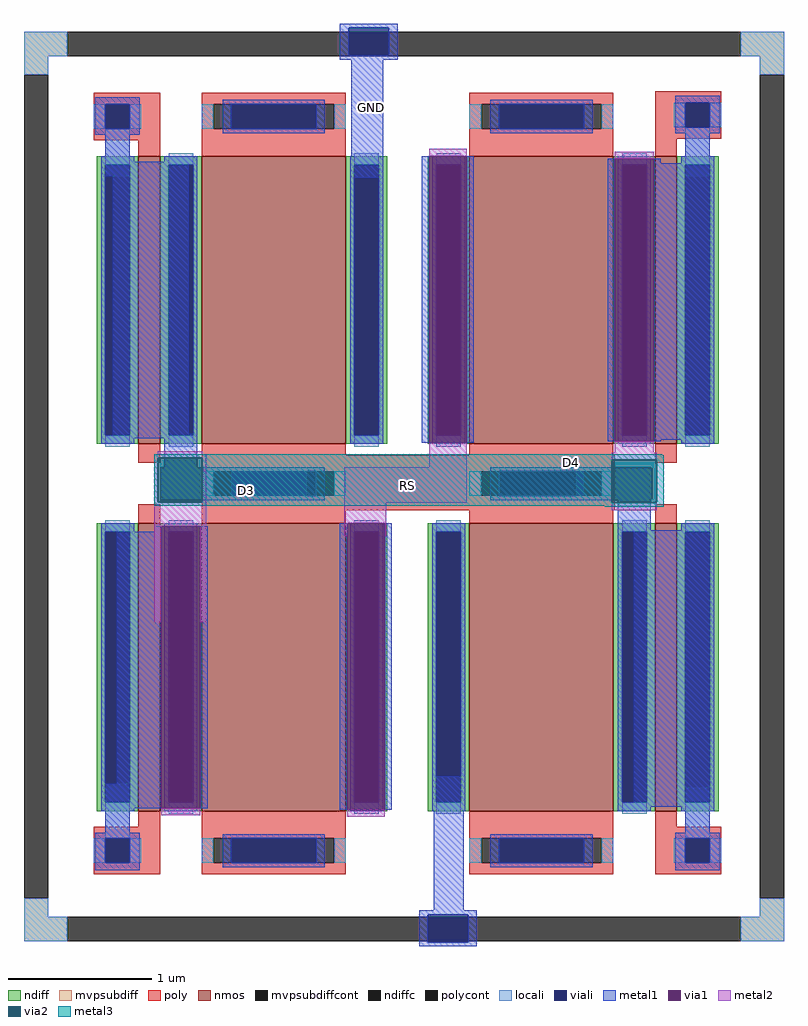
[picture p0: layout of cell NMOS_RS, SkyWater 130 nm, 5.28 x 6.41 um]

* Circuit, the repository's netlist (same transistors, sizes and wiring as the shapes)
** sch_path: /root/latihan/opamp/mag_file/NMOS_RS/NMOS_RS.sch
.subckt NMOS_RS D4 D3 RS GND
*.PININFO RS:B D4:B D3:B GND:B
XM4 D4 D3 RS GND sky130_fd_pr__nfet_01v8 L=1 W=2 nf=1 m=2
XM3 D3 D3 GND GND sky130_fd_pr__nfet_01v8 L=1 W=2 nf=1 m=2
XM1 D3 D3 D3 GND sky130_fd_pr__nfet_01v8 L=0.15 W=2 nf=1 m=2
XM2 D4 D4 D4 GND sky130_fd_pr__nfet_01v8 L=0.15 W=2 nf=1 m=2
.ends
.end

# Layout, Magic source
magic
tech sky130A
magscale 1 2
<< mvpsubdiff >>
rect -189 1137 -129 1171
rect 807 1137 867 1171
rect -189 1111 -155 1137
rect 833 1111 867 1137
rect -189 -59 -155 -33
rect 833 -59 867 -33
rect -189 -93 -129 -59
rect 807 -93 867 -59
<< mvpsubdiffcont >>
rect -129 1137 807 1171
rect -189 -33 -155 1111
rect 833 -33 867 1111
rect -129 -93 807 -59
<< poly >>
rect -92 1070 0 1086
rect -92 1036 -76 1070
rect -42 1036 0 1070
rect -92 1020 0 1036
rect -30 1006 0 1020
rect 688 1072 780 1088
rect 688 1038 730 1072
rect 764 1038 780 1072
rect 688 1022 780 1038
rect 688 1018 716 1022
rect 58 506 632 582
rect -30 66 0 80
rect -92 50 0 66
rect -92 16 -76 50
rect -42 16 0 50
rect -92 0 0 16
rect 688 66 718 80
rect 688 50 780 66
rect 688 16 730 50
rect 764 16 780 50
rect 688 0 780 16
<< polycont >>
rect -76 1036 -42 1070
rect 730 1038 764 1072
rect -76 16 -42 50
rect 730 16 764 50
<< locali >>
rect -189 1137 -129 1171
rect 807 1137 867 1171
rect -189 1111 -155 1137
rect 833 1111 867 1137
rect -92 1036 -76 1070
rect -42 1036 -26 1070
rect 714 1038 730 1072
rect 764 1038 780 1072
rect -76 970 -42 1036
rect 730 970 764 1038
rect -76 50 -42 126
rect 730 50 764 120
rect -92 16 -76 50
rect -42 16 -26 50
rect 714 16 730 50
rect 764 16 780 50
rect -189 -59 -155 -33
rect 833 -59 867 -33
rect -189 -93 -129 -59
rect 807 -93 867 -59
<< viali >>
rect 262 1171 318 1176
rect 262 1138 318 1171
rect -76 1036 -42 1070
rect 730 1038 764 1072
rect -76 16 -42 50
rect 730 16 764 50
rect 372 -59 428 -56
rect 372 -93 428 -59
rect 372 -94 428 -93
<< metal1 >>
rect 250 1176 330 1182
rect 250 1138 262 1176
rect 318 1138 330 1176
rect 250 1132 330 1138
rect -90 1070 -28 1080
rect -90 1036 -76 1070
rect -42 1036 -28 1070
rect -90 1028 -28 1036
rect -76 990 -42 1028
rect -76 970 40 990
rect -66 612 40 970
rect 266 968 310 1132
rect 716 1072 778 1082
rect 716 1038 730 1072
rect 764 1038 778 1072
rect 716 1030 778 1038
rect -66 606 52 612
rect 6 566 52 606
rect 364 600 374 998
rect 426 600 436 998
rect 622 602 632 994
rect 686 988 696 994
rect 730 988 764 1030
rect 686 604 764 988
rect 686 602 696 604
rect 0 520 204 566
rect 580 564 682 566
rect 578 522 684 564
rect 578 520 682 522
rect -8 476 2 484
rect -60 126 2 476
rect -76 92 2 126
rect 56 92 66 484
rect -76 58 -42 92
rect 250 90 260 488
rect 312 90 322 488
rect 636 478 682 520
rect 636 476 764 478
rect -90 50 -28 58
rect -90 16 -76 50
rect -42 16 -28 50
rect -90 6 -28 16
rect 380 -50 422 136
rect 658 94 764 476
rect 730 58 764 94
rect 716 50 778 58
rect 716 16 730 50
rect 764 16 778 50
rect 716 6 778 16
rect 360 -56 440 -50
rect 360 -94 372 -56
rect 428 -94 440 -56
rect 360 -100 440 -94
<< via1 >>
rect 374 600 426 998
rect 632 602 686 994
rect 2 92 56 484
rect 260 90 312 488
<< metal2 >>
rect 374 998 426 1008
rect -3 584 59 588
rect -8 579 64 584
rect -8 517 -3 579
rect 59 517 64 579
rect 374 566 426 600
rect 632 994 686 1004
rect 632 586 686 602
rect -8 484 64 517
rect -8 350 2 484
rect 56 350 64 484
rect 256 516 426 566
rect 628 576 690 586
rect 256 488 314 516
rect 628 506 690 516
rect 256 470 260 488
rect 2 82 56 92
rect 312 470 314 488
rect 260 80 312 90
<< via2 >>
rect -3 517 59 579
rect 628 516 690 576
<< metal3 >>
rect -8 582 698 584
rect -8 579 700 582
rect -8 517 -3 579
rect 59 576 700 579
rect 59 517 628 576
rect -8 516 628 517
rect 690 516 700 576
rect -8 512 700 516
rect 618 511 700 512
use sky130_fd_pr__nfet_01v8_EH54LQ  sky130_fd_pr__nfet_01v8_EH54LQ_0
transform 1 0 530 0 1 543
box -158 -543 158 543
use sky130_fd_pr__nfet_01v8_EH54LQ  sky130_fd_pr__nfet_01v8_EH54LQ_1
transform 1 0 158 0 1 543
box -158 -543 158 543
use sky130_fd_pr__nfet_01v8_TC9PLT  sky130_fd_pr__nfet_01v8_TC9PLT_0
transform 1 0 -15 0 1 798
box -73 -226 73 226
use sky130_fd_pr__nfet_01v8_TC9PLT  sky130_fd_pr__nfet_01v8_TC9PLT_1
transform 1 0 703 0 1 288
box -73 -226 73 226
use sky130_fd_pr__nfet_01v8_TC9PLT  sky130_fd_pr__nfet_01v8_TC9PLT_2
transform 1 0 703 0 1 798
box -73 -226 73 226
use sky130_fd_pr__nfet_01v8_TC9PLT  sky130_fd_pr__nfet_01v8_TC9PLT_3
transform 1 0 -15 0 1 288
box -73 -226 73 226
<< labels >>
flabel metal2 s 344 540 344 540 0 FreeSans 800 0 0 0 RS
port 0 nsew
flabel metal1 s 294 1066 294 1066 0 FreeSans 800 0 0 0 GND
port 1 nsew
flabel metal1 s 120 534 120 534 0 FreeSans 800 0 0 0 D3
port 2 nsew
flabel metal3 s 572 572 572 572 0 FreeSans 800 0 0 0 D4
port 3 nsew
<< end >>

# cell sky130_fd_pr__nfet_01v8_EH54LQ: kit device sky130_fd_pr__nfet_01v8, w 2 l 1 m 2 nf 1 diffcov 100 polycov 100 guard 0 glc 1 grc 1 gtc 1 gbc 1 tbcov 100 rlcov 100 topc 1 botc 1 poverlap 1 doverlap 0 lmin 0.15 wmin 0.42 compatible {sky130_fd_pr__nfet_01v8 sky130_fd_pr__nfet_01v8_lvt sky130_fd_bs_flash__special_sonosfet_star sky130_fd_pr__nfet_g5v0d10v5 sky130_fd_pr__nfet_05v0_nvt sky130_fd_pr__nfet_03v3_nvt} full_metal 1 viasrc 100 viadrn 100 viagate 70 viagb 0 viagr 0 viagl 0 viagt 0

# cell sky130_fd_pr__nfet_01v8_TC9PLT: kit device sky130_fd_pr__nfet_01v8, w 2 l 0.150 m 1 nf 1 diffcov 100 polycov 100 guard 0 glc 1 grc 1 gtc 1 gbc 1 tbcov 100 rlcov 100 topc 0 botc 0 poverlap 0 doverlap 1 lmin 0.15 wmin 0.42 compatible {sky130_fd_pr__nfet_01v8 sky130_fd_pr__nfet_01v8_lvt sky130_fd_bs_flash__special_sonosfet_star sky130_fd_pr__nfet_g5v0d10v5 sky130_fd_pr__nfet_05v0_nvt sky130_fd_pr__nfet_03v3_nvt} full_metal 1 viasrc 100 viadrn 100 viagate 100 viagb 0 viagr 0 viagl 0 viagt 0
